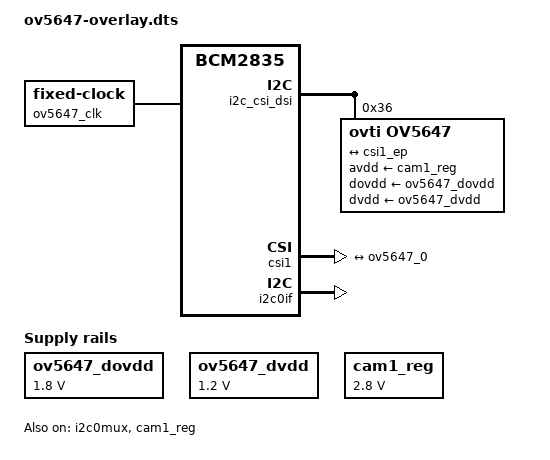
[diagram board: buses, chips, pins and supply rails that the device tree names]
// SPDX-License-Identifier: GPL-2.0-only
// Definitions for OV5647 camera module on VC I2C bus
/dts-v1/;
/plugin/;

/{
	compatible = "brcm,bcm2835";

	fragment@0 {
		target = <&i2c_csi_dsi>;
		__overlay__ {
			#address-cells = <1>;
			#size-cells = <0>;
			status = "okay";

			ov5647: ov5647@36 {
				compatible = "ovti,ov5647";
				reg = <0x36>;
				status = "okay";

				clocks = <&ov5647_clk>;

				avdd-supply = <&cam1_reg>;
				dovdd-supply = <&ov5647_dovdd>;
				dvdd-supply = <&ov5647_dvdd>;

				rotation = <0>;

				port {
					ov5647_0: endpoint {
						remote-endpoint = <&csi1_ep>;
						clock-lanes = <0>;
						data-lanes = <1 2>;
						clock-noncontinuous;
						link-frequencies =
							/bits/ 64 <297000000>;
					};
				};
			};
		};
	};

	fragment@1 {
		target = <&csi1>;
		__overlay__ {
			status = "okay";

			port {
				csi1_ep: endpoint {
					remote-endpoint = <&ov5647_0>;
					data-lanes = <1 2>;
				};
			};
		};
	};

	fragment@2 {
		target = <&i2c0if>;
		__overlay__ {
			status = "okay";
		};
	};

	fragment@3 {
		target = <&i2c0mux>;
		__overlay__ {
			status = "okay";
		};
	};

	fragment@4 {
		target-path="/";
		__overlay__ {
			ov5647_dovdd: fixedregulator@1 {
				compatible = "regulator-fixed";
				regulator-name = "ov5647_dovdd";
				regulator-min-microvolt = <1800000>;
				regulator-max-microvolt = <1800000>;
			};
			ov5647_dvdd: fixedregulator@2 {
				compatible = "regulator-fixed";
				regulator-name = "ov5647_dvdd";
				regulator-min-microvolt = <1200000>;
				regulator-max-microvolt = <1200000>;
			};

			ov5647_clk: camera-clk {
				compatible = "fixed-clock";
				#clock-cells = <0>;
				clock-frequency = <25000000>;
			};
		};
	};

	fragment@5 {
		target = <&cam1_reg>;
		__overlay__ {
			status = "okay";
			regulator-name = "ov5647_avdd";
			regulator-min-microvolt = <2800000>;
			regulator-max-microvolt = <2800000>;
		};
	};

	__overrides__ {
		rotation = <&ov5647>,"rotation:0";
	};
};
